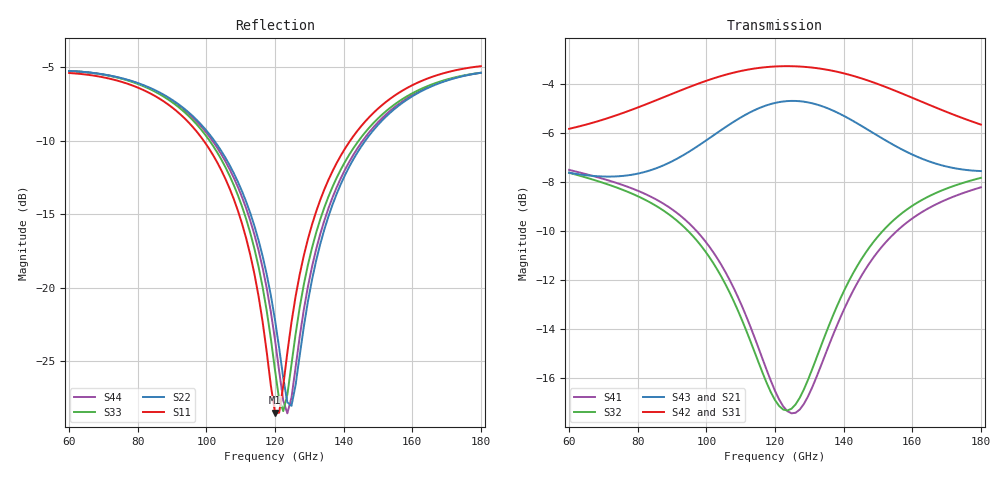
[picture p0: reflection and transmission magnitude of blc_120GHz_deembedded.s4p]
! Created with skrf 2.0.1 (http://scikit-rf.org).
# GHz S DB R 50.0
!freq dBS11 angS11 dBS12 angS12 dBS13 angS13
! dBS14 angS14
! dBS21 angS21 dBS22 angS22 dBS23 angS23
! dBS24 angS24
! dBS31 angS31 dBS32 angS32 dBS33 angS33
! dBS34 angS34
! dBS41 angS41 dBS42 angS42 dBS43 angS43
! dBS44 angS44
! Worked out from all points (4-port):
!   101 points, 60 GHz to 180 GHz, reference 50 ohm
!   strongest paths, dB at 60 GHz, 90 GHz, 120 GHz, 150 GHz, 180 GHz:
!     S42: -5.8, -4.4, -3.3, -4.0, -5.6
!     S31: -5.8, -4.3, -3.2, -4.2, -5.9
!     S43: -7.6, -7.1, -4.8, -6.1, -7.5
!     S21: -7.5, -7.0, -4.8, -6.3, -7.9
!     S32: -7.6, -9.4, -16.9, -10.2, -7.8
!     S41: -7.5, -9.1, -16.5, -10.8, -8.2
!   lowest |S11| = -28.5 dB at 120 GHz (marker M1), VSWR 1.08, Z = 53.5 + j1.63 ohm
!   |S11| at or under -10 dB: 99.22 GHz to 141.9 GHz (42.68 GHz wide, 35.4 % of centre)
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60  -5.39 163.6  -7.48 -46.1  -5.76 -78.1  -7.49 -60.6
    -7.48 -46.1  -5.25 158.6  -7.61 -62.7  -5.82 -80.3
    -5.76 -78.1  -7.61 -62.7  -5.25 158.1  -7.61 -47.9
    -7.49 -60.6  -5.82 -80.3  -7.61 -47.9  -5.25 158.4
102  -10.99 117.3  -6.01 -66.4  -3.64 -141.1  -10.85 -106.7
     -6.01 -66.4  -9.90 110.8  -11.29 -108.6  -3.76 -143.8
     -3.64 -141.1  -11.29 -108.6  -10.36 107.9  -6.09 -67.9
     -10.85 -106.7  -3.76 -143.8  -6.09 -67.9  -10.08 109.8
112.8  -17.77 93.1  -5.12 -77.9  -3.31 -161.2  -13.88 -114.0
       -5.12 -77.9  -14.93 89.9  -14.47 -113.6  -3.39 -163.8
       -3.31 -161.2  -14.47 -113.6  -16.28 84.4  -5.14 -79.7
       -13.88 -114.0  -3.39 -163.8  -5.14 -79.7  -15.44 88.1
120  -28.51 24.0  -4.77 -87.6  -3.25 -174.9  -16.51 -106.8
     -4.77 -87.6  -22.19 61.9  -16.88 -103.0  -3.28 -177.5
     -3.25 -174.9  -16.88 -103.0  -25.61 41.4  -4.76 -89.5
     -16.51 -106.8  -3.28 -177.5  -4.76 -89.5  -23.54 56.1
124.8  -22.35 -59.2  -4.70 -94.5  -3.28 176.0  -17.42 -93.1
       -4.70 -94.5  -28.04 -15.0  -17.24 -88.2  -3.27 173.3
       -3.28 176.0  -17.24 -88.2  -25.23 -55.6  -4.68 -96.5
       -17.42 -93.1  -3.27 173.3  -4.68 -96.5  -27.49 -34.7
139.2  -11.00 -99.6  -5.31 -113.9  -3.67 149.3  -13.47 -70.4
       -5.31 -113.9  -12.94 -105.8  -12.70 -72.2  -3.53 145.9
       -3.67 149.3  -12.70 -72.2  -11.95 -111.5  -5.23 -116.2
       -13.47 -70.4  -3.53 145.9  -5.23 -116.2  -12.54 -108.5
180  -4.92 -145.8  -7.93 -139.1  -5.85 86.3  -8.21 -111.3
     -7.93 -139.1  -5.37 -160.0  -7.82 -117.6  -5.65 79.9
     -5.85 86.3  -7.82 -117.6  -5.37 -162.1  -7.54 -143.9
     -8.21 -111.3  -5.65 79.9  -7.54 -143.9  -5.37 -161.1
